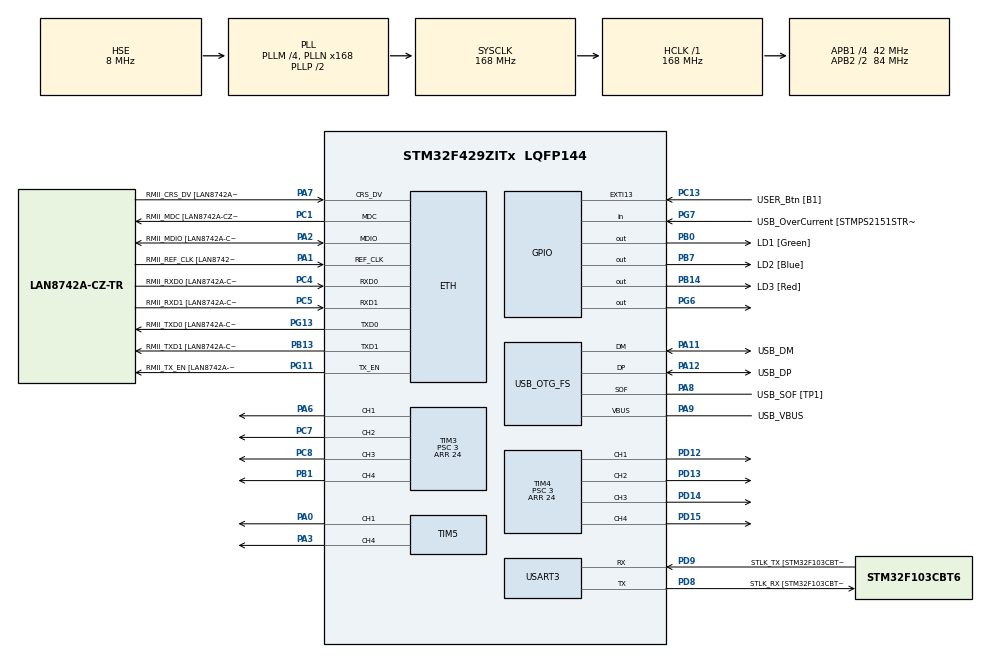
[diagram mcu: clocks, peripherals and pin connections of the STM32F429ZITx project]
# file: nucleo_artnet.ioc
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Dma.Request0=TIM3_CH1/TRIG
Dma.Request1=TIM4_CH1
Dma.Request2=TIM3_CH2
Dma.Request3=TIM3_CH3
Dma.Request4=TIM3_CH4/UP
Dma.Request5=TIM4_CH2
Dma.Request6=TIM4_UP
Dma.TIM3_CH1/TRIG.0.Direction=DMA_MEMORY_TO_PERIPH
Dma.TIM3_CH1/TRIG.0.FIFOMode=DMA_FIFOMODE_DISABLE
Dma.TIM3_CH1/TRIG.0.Instance=DMA1_Stream4
Dma.TIM3_CH1/TRIG.0.MemDataAlignment=DMA_MDATAALIGN_HALFWORD
Dma.TIM3_CH1/TRIG.0.MemInc=DMA_MINC_ENABLE
Dma.TIM3_CH1/TRIG.0.Mode=DMA_NORMAL
Dma.TIM3_CH1/TRIG.0.PeriphDataAlignment=DMA_PDATAALIGN_HALFWORD
Dma.TIM3_CH1/TRIG.0.PeriphInc=DMA_PINC_DISABLE
Dma.TIM3_CH1/TRIG.0.Priority=DMA_PRIORITY_LOW
Dma.TIM3_CH2.2.Direction=DMA_MEMORY_TO_PERIPH
Dma.TIM3_CH2.2.FIFOMode=DMA_FIFOMODE_DISABLE
Dma.TIM3_CH2.2.Instance=DMA1_Stream5
Dma.TIM3_CH2.2.MemDataAlignment=DMA_MDATAALIGN_HALFWORD
Dma.TIM3_CH2.2.MemInc=DMA_MINC_ENABLE
Dma.TIM3_CH2.2.Mode=DMA_NORMAL
Dma.TIM3_CH2.2.PeriphDataAlignment=DMA_PDATAALIGN_HALFWORD
Dma.TIM3_CH2.2.PeriphInc=DMA_PINC_DISABLE
Dma.TIM3_CH2.2.Priority=DMA_PRIORITY_LOW
Dma.TIM3_CH3.3.Direction=DMA_MEMORY_TO_PERIPH
Dma.TIM3_CH3.3.FIFOMode=DMA_FIFOMODE_DISABLE
Dma.TIM3_CH3.3.Instance=DMA1_Stream7
Dma.TIM3_CH3.3.MemDataAlignment=DMA_MDATAALIGN_HALFWORD
Dma.TIM3_CH3.3.MemInc=DMA_MINC_ENABLE
Dma.TIM3_CH3.3.Mode=DMA_NORMAL
Dma.TIM3_CH3.3.PeriphDataAlignment=DMA_PDATAALIGN_HALFWORD
Dma.TIM3_CH3.3.PeriphInc=DMA_PINC_DISABLE
Dma.TIM3_CH3.3.Priority=DMA_PRIORITY_LOW
Dma.TIM3_CH4/UP.4.Direction=DMA_MEMORY_TO_PERIPH
Dma.TIM3_CH4/UP.4.FIFOMode=DMA_FIFOMODE_DISABLE
Dma.TIM3_CH4/UP.4.Instance=DMA1_Stream2
Dma.TIM3_CH4/UP.4.MemDataAlignment=DMA_MDATAALIGN_HALFWORD
Dma.TIM3_CH4/UP.4.MemInc=DMA_MINC_ENABLE
Dma.TIM3_CH4/UP.4.Mode=DMA_NORMAL
Dma.TIM3_CH4/UP.4.PeriphDataAlignment=DMA_PDATAALIGN_HALFWORD
Dma.TIM3_CH4/UP.4.PeriphInc=DMA_PINC_DISABLE
Dma.TIM3_CH4/UP.4.Priority=DMA_PRIORITY_LOW
Dma.TIM4_CH1.1.Direction=DMA_MEMORY_TO_PERIPH
Dma.TIM4_CH1.1.FIFOMode=DMA_FIFOMODE_DISABLE
Dma.TIM4_CH1.1.Instance=DMA1_Stream0
Dma.TIM4_CH1.1.MemDataAlignment=DMA_MDATAALIGN_HALFWORD
Dma.TIM4_CH1.1.MemInc=DMA_MINC_ENABLE
Dma.TIM4_CH1.1.Mode=DMA_NORMAL
Dma.TIM4_CH1.1.PeriphDataAlignment=DMA_PDATAALIGN_HALFWORD
Dma.TIM4_CH1.1.PeriphInc=DMA_PINC_DISABLE
Dma.TIM4_CH1.1.Priority=DMA_PRIORITY_LOW
Dma.TIM4_CH2.5.Direction=DMA_MEMORY_TO_PERIPH
Dma.TIM4_CH2.5.FIFOMode=DMA_FIFOMODE_DISABLE
Dma.TIM4_CH2.5.Instance=DMA1_Stream3
Dma.TIM4_CH2.5.MemDataAlignment=DMA_MDATAALIGN_HALFWORD
Dma.TIM4_CH2.5.MemInc=DMA_MINC_ENABLE
Dma.TIM4_CH2.5.Mode=DMA_NORMAL
Dma.TIM4_CH2.5.PeriphDataAlignment=DMA_PDATAALIGN_HALFWORD
Dma.TIM4_CH2.5.PeriphInc=DMA_PINC_DISABLE
Dma.TIM4_CH2.5.Priority=DMA_PRIORITY_LOW
Dma.TIM4_UP.6.Direction=DMA_MEMORY_TO_PERIPH
Dma.TIM4_UP.6.FIFOMode=DMA_FIFOMODE_DISABLE
Dma.TIM4_UP.6.Instance=DMA1_Stream6
Dma.TIM4_UP.6.MemDataAlignment=DMA_MDATAALIGN_HALFWORD
Dma.TIM4_UP.6.MemInc=DMA_MINC_ENABLE
Dma.TIM4_UP.6.Mode=DMA_NORMAL
Dma.TIM4_UP.6.PeriphDataAlignment=DMA_PDATAALIGN_HALFWORD
Dma.TIM4_UP.6.PeriphInc=DMA_PINC_DISABLE
Dma.TIM4_UP.6.Priority=DMA_PRIORITY_LOW
ETH.MediaInterface=HAL_ETH_RMII_MODE
ETH.PHY_Name=LAN8742A_PHY_ADDRESS
ETH.PHY_Value=0
ETH.PhyAddress=0
LWIP.BSP.number=1
LWIP.GATEWAY_ADDRESS=198.168.001.001
LWIP.IP_ADDRESS=192.168.001.245
LWIP.LWIP_DHCP=0
LWIP.NETMASK_ADDRESS=255.255.255.000
LWIP.Version=v2.1.2_Cube
LWIP0.BSP.STBoard=false
LWIP0.BSP.api=BSP_COMPONENT_DRIVER
LWIP0.BSP.component=LAN8742
LWIP0.BSP.instance=LAN8742
LWIP0.BSP.name=Driver_PHY
LWIP0.BSP.semaphore=S_LAN8742
LWIP0.BSP.solution=LAN8742
Mcu.Family=STM32F4
Mcu.Name=STM32F429ZITx
Mcu.Package=LQFP144
NVIC.DMA1_Stream0_IRQn=true\:0\:0\:false\:false\:true\:false\:true\:true
NVIC.DMA1_Stream2_IRQn=true\:0\:0\:false\:false\:true\:false\:true\:true
NVIC.DMA1_Stream3_IRQn=true\:0\:0\:false\:false\:true\:false\:true\:true
NVIC.DMA1_Stream4_IRQn=true\:0\:0\:false\:false\:true\:false\:true\:true
NVIC.DMA1_Stream5_IRQn=true\:0\:0\:false\:false\:true\:false\:true\:true
NVIC.DMA1_Stream6_IRQn=true\:0\:0\:false\:false\:true\:false\:true\:true
NVIC.DMA1_Stream7_IRQn=true\:0\:0\:false\:false\:true\:false\:true\:true
NVIC.ETH_IRQn=true\:5\:0\:true\:false\:true\:true\:true\:true
NVIC.PriorityGroup=NVIC_PRIORITYGROUP_4
PA0/WKUP.Signal=S_TIM5_CH1
PA1.GPIO_Label=RMII_REF_CLK [LAN8742A-CZ-TR_REFCLK0]
PA1.Mode=RMII
PA1.Signal=ETH_REF_CLK
PA10.GPIO_Label=USB_ID
PA10.Signal=USB_OTG_FS_ID
PA11.GPIO_Label=USB_DM
PA11.Mode=Device_Only
PA11.Signal=USB_OTG_FS_DM
PA12.GPIO_Label=USB_DP
PA12.Mode=Device_Only
PA12.Signal=USB_OTG_FS_DP
PA13.GPIO_Label=TMS
PA13.Mode=Serial_Wire
PA13.Signal=SYS_JTMS-SWDIO
PA14.GPIO_Label=TCK
PA14.Mode=Serial_Wire
PA14.Signal=SYS_JTCK-SWCLK
PA2.GPIO_Label=RMII_MDIO [LAN8742A-CZ-TR_MDIO]
PA2.Mode=RMII
PA2.Signal=ETH_MDIO
PA3.Signal=S_TIM5_CH4
PA6.Signal=S_TIM3_CH1
PA7.GPIO_Label=RMII_CRS_DV [LAN8742A-CZ-TR_CRS_DV]
PA7.Mode=RMII
PA7.Signal=ETH_CRS_DV
PA8.GPIO_Label=USB_SOF [TP1]
PA8.Mode=Activate_SOF_FS
PA8.Signal=USB_OTG_FS_SOF
PA9.GPIO_Label=USB_VBUS
PA9.Mode=Activate_VBUS
PA9.Signal=USB_OTG_FS_VBUS
PB0.GPIO_Label=LD1 [Green]
PB0.Signal=GPIO_Output
PB1.Signal=S_TIM3_CH4
PB13.GPIO_Label=RMII_TXD1 [LAN8742A-CZ-TR_TXD1]
PB13.Mode=RMII
PB13.Signal=ETH_TXD1
PB14.GPIO_Label=LD3 [Red]
PB14.Signal=GPIO_Output
PB7.GPIO_Label=LD2 [Blue]
PB7.Signal=GPIO_Output
PC1.GPIO_Label=RMII_MDC [LAN8742A-CZ-TR_MDC]
PC1.Mode=RMII
PC1.Signal=ETH_MDC
PC13.GPIO_Label=USER_Btn [B1]
PC13.Signal=GPXTI13
PC14/OSC32_IN.Mode=LSE-External-Oscillator
PC14/OSC32_IN.Signal=RCC_OSC32_IN
PC15/OSC32_OUT.Mode=LSE-External-Oscillator
PC15/OSC32_OUT.Signal=RCC_OSC32_OUT
PC4.GPIO_Label=RMII_RXD0 [LAN8742A-CZ-TR_RXD0]
PC4.Mode=RMII
PC4.Signal=ETH_RXD0
PC5.GPIO_Label=RMII_RXD1 [LAN8742A-CZ-TR_RXD1]
PC5.Mode=RMII
PC5.Signal=ETH_RXD1
PC7.Signal=S_TIM3_CH2
PC8.Signal=S_TIM3_CH3
PD12.Signal=S_TIM4_CH1
PD13.Signal=S_TIM4_CH2
PD14.Signal=S_TIM4_CH3
PD15.Signal=S_TIM4_CH4
PD8.GPIO_Label=STLK_RX [STM32F103CBT6_PA3]
PD8.Mode=Asynchronous
PD8.Signal=USART3_TX
PD9.GPIO_Label=STLK_TX [STM32F103CBT6_PA2]
PD9.Mode=Asynchronous
PD9.Signal=USART3_RX
PG11.GPIO_Label=RMII_TX_EN [LAN8742A-CZ-TR_TXEN]
PG11.Mode=RMII
PG11.Signal=ETH_TX_EN
PG13.GPIO_Label=RMII_TXD0 [LAN8742A-CZ-TR_TXD0]
PG13.Mode=RMII
PG13.Signal=ETH_TXD0
PG6.Signal=GPIO_Output
PG7.GPIO_Label=USB_OverCurrent [STMPS2151STR_FAULT]
PG7.Signal=GPIO_Input
PH0/OSC_IN.GPIO_Label=MCO [STM32F103CBT6_PA8]
PH0/OSC_IN.Mode=HSE-External-Clock-Source
PH0/OSC_IN.Signal=RCC_OSC_IN
PH1/OSC_OUT.Mode=HSE-External-Clock-Source
PH1/OSC_OUT.Signal=RCC_OSC_OUT
ProjectManager.HeapSize=0x200
ProjectManager.StackSize=0x400
ProjectManager.TargetToolchain=STM32CubeIDE
RCC.48MHZClocksFreq_Value=48000000
RCC.AHBFreq_Value=168000000
RCC.APB1CLKDivider=RCC_HCLK_DIV4
RCC.APB1Freq_Value=42000000
RCC.APB1TimFreq_Value=84000000
RCC.APB2CLKDivider=RCC_HCLK_DIV2
RCC.APB2Freq_Value=84000000
RCC.APB2TimFreq_Value=168000000
RCC.CortexFreq_Value=168000000
RCC.HCLKFreq_Value=168000000
RCC.HSE_VALUE=8000000
RCC.HSI_VALUE=16000000
RCC.PLLM=4
RCC.PLLMUL=RCC_PLL_MUL9
RCC.PLLN=168
RCC.PLLQ=7
RCC.PRESCALERUSB=RCC_USBCLKSOURCE_PLL_DIV1_5
RCC.SYSCLKFreq_VALUE=168000000
RCC.SYSCLKSource=RCC_SYSCLKSOURCE_PLLCLK
RCC.SYSCLKSourceVirtual=RCC_SYSCLKSOURCE_PLLCLK
RCC.USBFreq_Value=48000000
RCC.VCOOutputFreq_Value=336000000
SH.S_TIM3_CH1.0=TIM3_CH1,PWM Generation1 CH1
SH.S_TIM3_CH2.0=TIM3_CH2,PWM Generation2 CH2
SH.S_TIM3_CH3.0=TIM3_CH3,PWM Generation3 CH3
SH.S_TIM3_CH4.0=TIM3_CH4,PWM Generation4 CH4
SH.S_TIM4_CH1.0=TIM4_CH1,PWM Generation1 CH1
SH.S_TIM4_CH2.0=TIM4_CH2,PWM Generation2 CH2
SH.S_TIM4_CH3.0=TIM4_CH3,PWM Generation3 CH3
SH.S_TIM4_CH4.0=TIM4_CH4,PWM Generation4 CH4
SH.S_TIM5_CH1.0=TIM5_CH1,PWM Generation1 CH1
SH.S_TIM5_CH4.0=TIM5_CH4,PWM Generation4 CH4
TIM3.Channel-PWM\ Generation1\ CH1=TIM_CHANNEL_1
TIM3.Channel-PWM\ Generation2\ CH2=TIM_CHANNEL_2
TIM3.Channel-PWM\ Generation3\ CH3=TIM_CHANNEL_3
TIM3.Channel-PWM\ Generation4\ CH4=TIM_CHANNEL_4
TIM3.Period=24
TIM3.Prescaler=3
TIM4.Channel-PWM\ Generation1\ CH1=TIM_CHANNEL_1
TIM4.Channel-PWM\ Generation2\ CH2=TIM_CHANNEL_2
TIM4.Channel-PWM\ Generation3\ CH3=TIM_CHANNEL_3
TIM4.Channel-PWM\ Generation4\ CH4=TIM_CHANNEL_4
TIM4.Period=24
TIM4.Prescaler=3
TIM5.Channel-PWM\ Generation1\ CH1=TIM_CHANNEL_1
TIM5.Channel-PWM\ Generation4\ CH4=TIM_CHANNEL_4
USART3.VirtualMode=VM_ASYNC
USB_OTG_FS.VirtualMode=Device_Only
VP_LWIP_VS_Enabled.Mode=Enabled
VP_TIM5_VS_ClockSourceINT.Mode=Internal
board=NUCLEO-F429ZI

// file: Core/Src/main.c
/* USER CODE BEGIN Header */
/**
  ******************************************************************************
  * @file           : main.c
  * @brief          : Main program body
  ******************************************************************************
  * @attention
  *
  * Copyright (c) 2026 STMicroelectronics.
  * All rights reserved.
  *
  * This software is licensed under terms that can be found in the LICENSE file
  * in the root directory of this software component.
  * If no LICENSE file comes with this software, it is provided AS-IS.
  *
  ******************************************************************************
  */
/* USER CODE END Header */
#include "main.h"
#include "lwip.h"

/* USER CODE BEGIN Includes */
#include <string.h>
#include "artnet.h"
#include "dmx_buffer.h"
#include "neo_pixel.h"
#include "ip_config.h"
#include "lwip/apps/httpd.h"
// #include "lwip/netif.h"
/* USER CODE END Includes */

/* USER CODE BEGIN PTD */
// extern struct netif gnetif;
/* USER CODE END PTD */

/* USER CODE BEGIN PD */

/*
 give simielar html for my code to update the variabel in my code like ip config and also subnet mansk ans
 also changabel with defualt like optional , on hardware code make this also b1 user button on nucleo the f429zi
 and also make the work on the click come to defualt other wise same for the ip ,
 also which universes on the which pin and also the order of it and also ,
 change name and shortname arnet,
 !no new pins or nwe gpio pin
 */

#define LEDS_PER_UNIVERSE   170
#define UNIVERSES_PER_PIN   4
#define LEDS_PER_PIN        (LEDS_PER_UNIVERSE * UNIVERSES_PER_PIN)  // 680
#define NUM_PINS            5

/* DMA reads this directly — MUST stay in main SRAM, never move to CCM */
neopixel_led leds[NUM_PINS][LEDS_PER_PIN + 1];

/* CPU-only buffers — placed in CCM to free up SRAM */
static rgb_color dmx_colors[NUM_PINS][LEDS_PER_PIN] __attribute__((section(".ccmram")));

static volatile uint8_t dma_busy[NUM_PINS];

/* USER CODE END PD */

TIM_HandleTypeDef htim3;
TIM_HandleTypeDef htim4;
TIM_HandleTypeDef htim5;
DMA_HandleTypeDef hdma_tim3_ch1_trig;
DMA_HandleTypeDef hdma_tim3_ch2;
DMA_HandleTypeDef hdma_tim3_ch3;
DMA_HandleTypeDef hdma_tim3_ch4_up;
DMA_HandleTypeDef hdma_tim4_ch1;
DMA_HandleTypeDef hdma_tim4_ch2;
DMA_HandleTypeDef hdma_tim4_up;

UART_HandleTypeDef huart3;

PCD_HandleTypeDef hpcd_USB_OTG_FS;

/* USER CODE BEGIN PV */

int blue = 0;
int green = 0;
int red = 0;

//neopixel_led leds[NUMBER_OF_LEDS + 1];
//static rgb_color dmx_colors[NUMBER_OF_LEDS];
//static uint8_t dma_busy1 = 0;                // guard flag
/* USER CODE END PV */

void SystemClock_Config(void);
static void MX_GPIO_Init(void);
static void MX_DMA_Init(void);
static void MX_USART3_UART_Init(void);
static void MX_USB_OTG_FS_PCD_Init(void);
static void MX_TIM3_Init(void);
static void MX_TIM4_Init(void);
static void MX_TIM5_Init(void);
/* USER CODE BEGIN PFP */

const char *LedControlCgiHandler(int iIndex, int iNumParams, char *pcParam[], char *pcValue[]);
/* USER CODE END PFP */

/* USER CODE BEGIN 0 */

static void build_colors_from_universe(const DMX_Universe_t *uni,
                                       rgb_color *out,
                                       uint16_t num_leds)
{
    if (uni->valid) {
        for (uint16_t i = 0; i < num_leds; i++) {
            /* Straight RGB assignment — struct field order handles wire order */
            out[i].r = uni->data[i * 3 + 0];
            out[i].g = uni->data[i * 3 + 1];
            out[i].b = uni->data[i * 3 + 2];
        }
    } else {
        memset(out, 0, num_leds * sizeof(rgb_color));
        out[0].r = 32;   /* dim red = waiting indicator */
    }
}

static void build_pin_colors(uint8_t pin_idx, uint8_t uni_base)
{
    for (uint8_t u = 0; u < UNIVERSES_PER_PIN; u++) {
        build_colors_from_universe(
            &dmx_universes[uni_base + u],
            &dmx_colors[pin_idx][u * LEDS_PER_UNIVERSE],
            LEDS_PER_UNIVERSE
        );
    }
}

#define PUSH_STRIP(pin_idx, htim_inst, ch)                                      \
    if (!dma_busy[(pin_idx)]) {                                                 \
        set_pattern_led(leds[(pin_idx)], dmx_colors[(pin_idx)], LEDS_PER_PIN); \
        dma_busy[(pin_idx)] = 1;                                                \
        HAL_TIM_PWM_Start_DMA(&(htim_inst), (ch),                               \
            (uint32_t *)leds[(pin_idx)],                                        \
            LEDS_PER_PIN * 24 + 24);                                            \
    }

/* USER CODE END 0 */

int main(void)
{

  /* USER CODE BEGIN 1 */
	tCGI LED_CGI = {"/LEDControl.cgi", LedControlCgiHandler};
  /* USER CODE END 1 */

  /* MCU Configuration--------------------------------------------------------*/

  /* Reset of all peripherals, Initializes the Flash interface and the Systick. */
  HAL_Init();

  /* Configure the system clock */
  SystemClock_Config();

  /* Initialize all configured peripherals */
  MX_GPIO_Init();
  MX_DMA_Init();
  MX_USART3_UART_Init();
  MX_USB_OTG_FS_PCD_Init();
  MX_LWIP_Init();
  MX_TIM3_Init();
  MX_TIM4_Init();
  MX_TIM5_Init();
  /* USER CODE BEGIN 2 */
//    artnet_init();

  httpd_init();
  uint32_t count = 0;
  http_set_cgi_handlers(&LED_CGI,1);

  memset((uint8_t *)dma_busy, 0, sizeof(dma_busy));
  artnet_init();

  /* USER CODE END 2 */

  /* Infinite loop */
  while (1)
  {

    /* USER CODE BEGIN 3 */

	  MX_LWIP_Process();

	  	 HAL_GPIO_WritePin(GPIOB,GPIO_PIN_0, red);
		 HAL_GPIO_WritePin(GPIOB,GPIO_PIN_14, red);
		 HAL_GPIO_WritePin(GPIOB,GPIO_PIN_7, red);
	     uint32_t now = HAL_GetTick();

	     // Status LED blink
//	     static uint32_t last_pkt0 = 0, last_blink0 = 0;
//	     if (dmx_universes[0].packet_count != last_pkt0) {
//	         last_pkt0   = dmx_universes[0].packet_count;
//	         last_blink0 = now;
//	     }
//	     HAL_GPIO_WritePin(LD1_GPIO_Port, LD1_Pin,
//	         (dmx_universes[0].data[0] | dmx_universes[0].data[1] | dmx_universes[0].data[2])
//	             ? GPIO_PIN_SET : GPIO_PIN_RESET);
//	     HAL_GPIO_WritePin(LD2_GPIO_Port, LD2_Pin,
//	         ((now - last_blink0 < 500) && (now % 200 < 100))
//	             ? GPIO_PIN_SET : GPIO_PIN_RESET);
//
//
//	     if (!dma_busy[0]) { build_pin_colors(0,  0); PUSH_STRIP(0, htim3, TIM_CHANNEL_1); }
//	     if (!dma_busy[1]) { build_pin_colors(1,  4); PUSH_STRIP(1, htim3, TIM_CHANNEL_2); }
//	     if (!dma_busy[2]) { build_pin_colors(2,  8); PUSH_STRIP(2, htim3, TIM_CHANNEL_3); }
//	     if (!dma_busy[3]) { build_pin_colors(3, 12); PUSH_STRIP(3, htim3, TIM_CHANNEL_4); }
//	     if (!dma_busy[4]) { build_pin_colors(4, 16); PUSH_STRIP(4, htim4, TIM_CHANNEL_1); }

  }
  /* USER CODE END 3 */
}

void SystemClock_Config(void)
{
  RCC_OscInitTypeDef RCC_OscInitStruct = {0};
  RCC_ClkInitTypeDef RCC_ClkInitStruct = {0};

  /** Configure the main internal regulator output voltage
  */
  __HAL_RCC_PWR_CLK_ENABLE();
  __HAL_PWR_VOLTAGESCALING_CONFIG(PWR_REGULATOR_VOLTAGE_SCALE1);

  /** Initializes the RCC Oscillators according to the specified parameters
  * in the RCC_OscInitTypeDef structure.
  */
  RCC_OscInitStruct.OscillatorType = RCC_OSCILLATORTYPE_HSE;
  RCC_OscInitStruct.HSEState = RCC_HSE_BYPASS;
  RCC_OscInitStruct.PLL.PLLState = RCC_PLL_ON;
  RCC_OscInitStruct.PLL.PLLSource = RCC_PLLSOURCE_HSE;
  RCC_OscInitStruct.PLL.PLLM = 4;
  RCC_OscInitStruct.PLL.PLLN = 168;
  RCC_OscInitStruct.PLL.PLLP = RCC_PLLP_DIV2;
  RCC_OscInitStruct.PLL.PLLQ = 7;
  if (HAL_RCC_OscConfig(&RCC_OscInitStruct) != HAL_OK)
  {
    Error_Handler();
  }

  /** Initializes the CPU, AHB and APB buses clocks
  */
  RCC_ClkInitStruct.ClockType = RCC_CLOCKTYPE_HCLK|RCC_CLOCKTYPE_SYSCLK
                              |RCC_CLOCKTYPE_PCLK1|RCC_CLOCKTYPE_PCLK2;
  RCC_ClkInitStruct.SYSCLKSource = RCC_SYSCLKSOURCE_PLLCLK;
  RCC_ClkInitStruct.AHBCLKDivider = RCC_SYSCLK_DIV1;
  RCC_ClkInitStruct.APB1CLKDivider = RCC_HCLK_DIV4;
  RCC_ClkInitStruct.APB2CLKDivider = RCC_HCLK_DIV2;

  if (HAL_RCC_ClockConfig(&RCC_ClkInitStruct, FLASH_LATENCY_5) != HAL_OK)
  {
    Error_Handler();
  }
}

static void MX_TIM3_Init(void)
{

  TIM_MasterConfigTypeDef sMasterConfig = {0};
  TIM_OC_InitTypeDef sConfigOC = {0};

  htim3.Instance = TIM3;
  htim3.Init.Prescaler = 3;
  htim3.Init.CounterMode = TIM_COUNTERMODE_UP;
  htim3.Init.Period = 24;
  htim3.Init.ClockDivision = TIM_CLOCKDIVISION_DIV1;
  htim3.Init.AutoReloadPreload = TIM_AUTORELOAD_PRELOAD_DISABLE;
  if (HAL_TIM_PWM_Init(&htim3) != HAL_OK)
  {
    Error_Handler();
  }
  sMasterConfig.MasterOutputTrigger = TIM_TRGO_RESET;
  sMasterConfig.MasterSlaveMode = TIM_MASTERSLAVEMODE_DISABLE;
  if (HAL_TIMEx_MasterConfigSynchronization(&htim3, &sMasterConfig) != HAL_OK)
  {
    Error_Handler();
  }
  sConfigOC.OCMode = TIM_OCMODE_PWM1;
  sConfigOC.Pulse = 0;
  sConfigOC.OCPolarity = TIM_OCPOLARITY_HIGH;
  sConfigOC.OCFastMode = TIM_OCFAST_DISABLE;
  if (HAL_TIM_PWM_ConfigChannel(&htim3, &sConfigOC, TIM_CHANNEL_1) != HAL_OK)
  {
    Error_Handler();
  }
  if (HAL_TIM_PWM_ConfigChannel(&htim3, &sConfigOC, TIM_CHANNEL_2) != HAL_OK)
  {
    Error_Handler();
  }
  if (HAL_TIM_PWM_ConfigChannel(&htim3, &sConfigOC, TIM_CHANNEL_3) != HAL_OK)
  {
    Error_Handler();
  }
  if (HAL_TIM_PWM_ConfigChannel(&htim3, &sConfigOC, TIM_CHANNEL_4) != HAL_OK)
  {
    Error_Handler();
  }
  HAL_TIM_MspPostInit(&htim3);

}

static void MX_TIM4_Init(void)
{

  TIM_MasterConfigTypeDef sMasterConfig = {0};
  TIM_OC_InitTypeDef sConfigOC = {0};

  htim4.Instance = TIM4;
  htim4.Init.Prescaler = 3;
  htim4.Init.CounterMode = TIM_COUNTERMODE_UP;
  htim4.Init.Period = 24;
  htim4.Init.ClockDivision = TIM_CLOCKDIVISION_DIV1;
  htim4.Init.AutoReloadPreload = TIM_AUTORELOAD_PRELOAD_DISABLE;
  if (HAL_TIM_PWM_Init(&htim4) != HAL_OK)
  {
    Error_Handler();
  }
  sMasterConfig.MasterOutputTrigger = TIM_TRGO_RESET;
  sMasterConfig.MasterSlaveMode = TIM_MASTERSLAVEMODE_DISABLE;
  if (HAL_TIMEx_MasterConfigSynchronization(&htim4, &sMasterConfig) != HAL_OK)
  {
    Error_Handler();
  }
  sConfigOC.OCMode = TIM_OCMODE_PWM1;
  sConfigOC.Pulse = 0;
  sConfigOC.OCPolarity = TIM_OCPOLARITY_HIGH;
  sConfigOC.OCFastMode = TIM_OCFAST_DISABLE;
  if (HAL_TIM_PWM_ConfigChannel(&htim4, &sConfigOC, TIM_CHANNEL_1) != HAL_OK)
  {
    Error_Handler();
  }
  if (HAL_TIM_PWM_ConfigChannel(&htim4, &sConfigOC, TIM_CHANNEL_2) != HAL_OK)
  {
    Error_Handler();
  }
  if (HAL_TIM_PWM_ConfigChannel(&htim4, &sConfigOC, TIM_CHANNEL_3) != HAL_OK)
  {
    Error_Handler();
  }
  if (HAL_TIM_PWM_ConfigChannel(&htim4, &sConfigOC, TIM_CHANNEL_4) != HAL_OK)
  {
    Error_Handler();
  }
  HAL_TIM_MspPostInit(&htim4);

}

static void MX_TIM5_Init(void)
{

  TIM_ClockConfigTypeDef sClockSourceConfig = {0};
  TIM_MasterConfigTypeDef sMasterConfig = {0};
  TIM_OC_InitTypeDef sConfigOC = {0};

  htim5.Instance = TIM5;
  htim5.Init.Prescaler = 0;
  htim5.Init.CounterMode = TIM_COUNTERMODE_UP;
  htim5.Init.Period = 4294967295;
  htim5.Init.ClockDivision = TIM_CLOCKDIVISION_DIV1;
  htim5.Init.AutoReloadPreload = TIM_AUTORELOAD_PRELOAD_DISABLE;
  if (HAL_TIM_Base_Init(&htim5) != HAL_OK)
  {
    Error_Handler();
  }
  sClockSourceConfig.ClockSource = TIM_CLOCKSOURCE_INTERNAL;
  if (HAL_TIM_ConfigClockSource(&htim5, &sClockSourceConfig) != HAL_OK)
  {
    Error_Handler();
  }
  if (HAL_TIM_PWM_Init(&htim5) != HAL_OK)
  {
    Error_Handler();
  }
  sMasterConfig.MasterOutputTrigger = TIM_TRGO_RESET;
  sMasterConfig.MasterSlaveMode = TIM_MASTERSLAVEMODE_DISABLE;
  if (HAL_TIMEx_MasterConfigSynchronization(&htim5, &sMasterConfig) != HAL_OK)
  {
    Error_Handler();
  }
  sConfigOC.OCMode = TIM_OCMODE_PWM1;
  sConfigOC.Pulse = 0;
  sConfigOC.OCPolarity = TIM_OCPOLARITY_HIGH;
  sConfigOC.OCFastMode = TIM_OCFAST_DISABLE;
  if (HAL_TIM_PWM_ConfigChannel(&htim5, &sConfigOC, TIM_CHANNEL_1) != HAL_OK)
  {
    Error_Handler();
  }
  if (HAL_TIM_PWM_ConfigChannel(&htim5, &sConfigOC, TIM_CHANNEL_4) != HAL_OK)
  {
    Error_Handler();
  }
  HAL_TIM_MspPostInit(&htim5);

}

static void MX_USART3_UART_Init(void)
{

  huart3.Instance = USART3;
  huart3.Init.BaudRate = 115200;
  huart3.Init.WordLength = UART_WORDLENGTH_8B;
  huart3.Init.StopBits = UART_STOPBITS_1;
  huart3.Init.Parity = UART_PARITY_NONE;
  huart3.Init.Mode = UART_MODE_TX_RX;
  huart3.Init.HwFlowCtl = UART_HWCONTROL_NONE;
  huart3.Init.OverSampling = UART_OVERSAMPLING_16;
  if (HAL_UART_Init(&huart3) != HAL_OK)
  {
    Error_Handler();
  }

}

static void MX_USB_OTG_FS_PCD_Init(void)
{

  hpcd_USB_OTG_FS.Instance = USB_OTG_FS;
  hpcd_USB_OTG_FS.Init.dev_endpoints = 4;
  hpcd_USB_OTG_FS.Init.speed = PCD_SPEED_FULL;
  hpcd_USB_OTG_FS.Init.dma_enable = DISABLE;
  hpcd_USB_OTG_FS.Init.phy_itface = PCD_PHY_EMBEDDED;
  hpcd_USB_OTG_FS.Init.Sof_enable = ENABLE;
  hpcd_USB_OTG_FS.Init.low_power_enable = DISABLE;
  hpcd_USB_OTG_FS.Init.lpm_enable = DISABLE;
  hpcd_USB_OTG_FS.Init.vbus_sensing_enable = ENABLE;
  hpcd_USB_OTG_FS.Init.use_dedicated_ep1 = DISABLE;
  if (HAL_PCD_Init(&hpcd_USB_OTG_FS) != HAL_OK)
  {
    Error_Handler();
  }

}

static void MX_DMA_Init(void)
{

  /* DMA controller clock enable */
  __HAL_RCC_DMA1_CLK_ENABLE();

  /* DMA interrupt init */
  /* DMA1_Stream0_IRQn interrupt configuration */
  HAL_NVIC_SetPriority(DMA1_Stream0_IRQn, 0, 0);
  HAL_NVIC_EnableIRQ(DMA1_Stream0_IRQn);
  /* DMA1_Stream2_IRQn interrupt configuration */
  HAL_NVIC_SetPriority(DMA1_Stream2_IRQn, 0, 0);
  HAL_NVIC_EnableIRQ(DMA1_Stream2_IRQn);
  /* DMA1_Stream3_IRQn interrupt configuration */
  HAL_NVIC_SetPriority(DMA1_Stream3_IRQn, 0, 0);
  HAL_NVIC_EnableIRQ(DMA1_Stream3_IRQn);
  /* DMA1_Stream4_IRQn interrupt configuration */
  HAL_NVIC_SetPriority(DMA1_Stream4_IRQn, 0, 0);
  HAL_NVIC_EnableIRQ(DMA1_Stream4_IRQn);
  /* DMA1_Stream5_IRQn interrupt configuration */
  HAL_NVIC_SetPriority(DMA1_Stream5_IRQn, 0, 0);
  HAL_NVIC_EnableIRQ(DMA1_Stream5_IRQn);
  /* DMA1_Stream6_IRQn interrupt configuration */
  HAL_NVIC_SetPriority(DMA1_Stream6_IRQn, 0, 0);
  HAL_NVIC_EnableIRQ(DMA1_Stream6_IRQn);
  /* DMA1_Stream7_IRQn interrupt configuration */
  HAL_NVIC_SetPriority(DMA1_Stream7_IRQn, 0, 0);
  HAL_NVIC_EnableIRQ(DMA1_Stream7_IRQn);

}

static void MX_GPIO_Init(void)
{
  GPIO_InitTypeDef GPIO_InitStruct = {0};

  /* GPIO Ports Clock Enable */
  __HAL_RCC_GPIOC_CLK_ENABLE();
  __HAL_RCC_GPIOH_CLK_ENABLE();
  __HAL_RCC_GPIOA_CLK_ENABLE();
  __HAL_RCC_GPIOB_CLK_ENABLE();
  __HAL_RCC_GPIOD_CLK_ENABLE();
  __HAL_RCC_GPIOG_CLK_ENABLE();

  /*Configure GPIO pin Output Level */
  HAL_GPIO_WritePin(GPIOB, LD1_Pin|LD3_Pin|LD2_Pin, GPIO_PIN_RESET);

  /*Configure GPIO pin Output Level */
  HAL_GPIO_WritePin(GPIOG, GPIO_PIN_6, GPIO_PIN_RESET);

  /*Configure GPIO pin : USER_Btn_Pin */
  GPIO_InitStruct.Pin = USER_Btn_Pin;
  GPIO_InitStruct.Mode = GPIO_MODE_IT_RISING;
  GPIO_InitStruct.Pull = GPIO_NOPULL;
  HAL_GPIO_Init(USER_Btn_GPIO_Port, &GPIO_InitStruct);

  /*Configure GPIO pins : LD1_Pin LD3_Pin LD2_Pin */
  GPIO_InitStruct.Pin = LD1_Pin|LD3_Pin|LD2_Pin;
  GPIO_InitStruct.Mode = GPIO_MODE_OUTPUT_PP;
  GPIO_InitStruct.Pull = GPIO_NOPULL;
  GPIO_InitStruct.Speed = GPIO_SPEED_FREQ_LOW;
  HAL_GPIO_Init(GPIOB, &GPIO_InitStruct);

  /*Configure GPIO pin : PG6 */
  GPIO_InitStruct.Pin = GPIO_PIN_6;
  GPIO_InitStruct.Mode = GPIO_MODE_OUTPUT_PP;
  GPIO_InitStruct.Pull = GPIO_NOPULL;
  GPIO_InitStruct.Speed = GPIO_SPEED_FREQ_LOW;
  HAL_GPIO_Init(GPIOG, &GPIO_InitStruct);

  /*Configure GPIO pin : USB_OverCurrent_Pin */
  GPIO_InitStruct.Pin = USB_OverCurrent_Pin;
  GPIO_InitStruct.Mode = GPIO_MODE_INPUT;
  GPIO_InitStruct.Pull = GPIO_NOPULL;
  HAL_GPIO_Init(USB_OverCurrent_GPIO_Port, &GPIO_InitStruct);

}

/* USER CODE BEGIN 4 */

void HAL_TIM_PWM_PulseFinishedCallback(TIM_HandleTypeDef *htim)
{
    if (htim->Instance == TIM3) {
        uint32_t ch = htim->Channel;
        if (ch == HAL_TIM_ACTIVE_CHANNEL_1) { HAL_TIM_PWM_Stop_DMA(htim, TIM_CHANNEL_1); dma_busy[0] = 0; }
        if (ch == HAL_TIM_ACTIVE_CHANNEL_2) { HAL_TIM_PWM_Stop_DMA(htim, TIM_CHANNEL_2); dma_busy[1] = 0; }
        if (ch == HAL_TIM_ACTIVE_CHANNEL_3) { HAL_TIM_PWM_Stop_DMA(htim, TIM_CHANNEL_3); dma_busy[2] = 0; }
        if (ch == HAL_TIM_ACTIVE_CHANNEL_4) { HAL_TIM_PWM_Stop_DMA(htim, TIM_CHANNEL_4); dma_busy[3] = 0; }
    }
    else if (htim->Instance == TIM4) {
        uint32_t ch = htim->Channel;
        if (ch == HAL_TIM_ACTIVE_CHANNEL_1) { HAL_TIM_PWM_Stop_DMA(htim, TIM_CHANNEL_1); dma_busy[4] = 0; }
//        if (ch == HAL_TIM_ACTIVE_CHANNEL_2) { HAL_TIM_PWM_Stop_DMA(htim, TIM_CHANNEL_2); dma_busy[5] = 0; }
    }
}

const char *LedControlCgiHandler(int index, int numParams, char *pcParam[], char *pcValue[])
{
  if(index == 0)
  {
    for(int i=0; i < numParams; i++)
    {
      if(strcmp(pcParam[i], "green") == 0)
      {
        if(strcmp(pcValue[i], "ON") == 0)
        {
          green = 1;
        }
        else
        {
          green = 0;
        }
      }
      else if(strcmp(pcParam[i], "blue") == 0)
      {
        if(strcmp(pcValue[i], "ON") == 0)
        {
          blue = 1;
        }
        else
        {
          blue = 0;
        }
      }
      else if(strcmp(pcParam[i], "red") == 0)
      {
        if(strcmp(pcValue[i], "ON") == 0)
        {
          red = 1;
        }
        else
        {
          red = 0;
        }
      }
    }
  }
  return "/index.html";
}
/* USER CODE END 4 */

void Error_Handler(void)
{
  __disable_irq();
  while (1)
  {
  }
}
